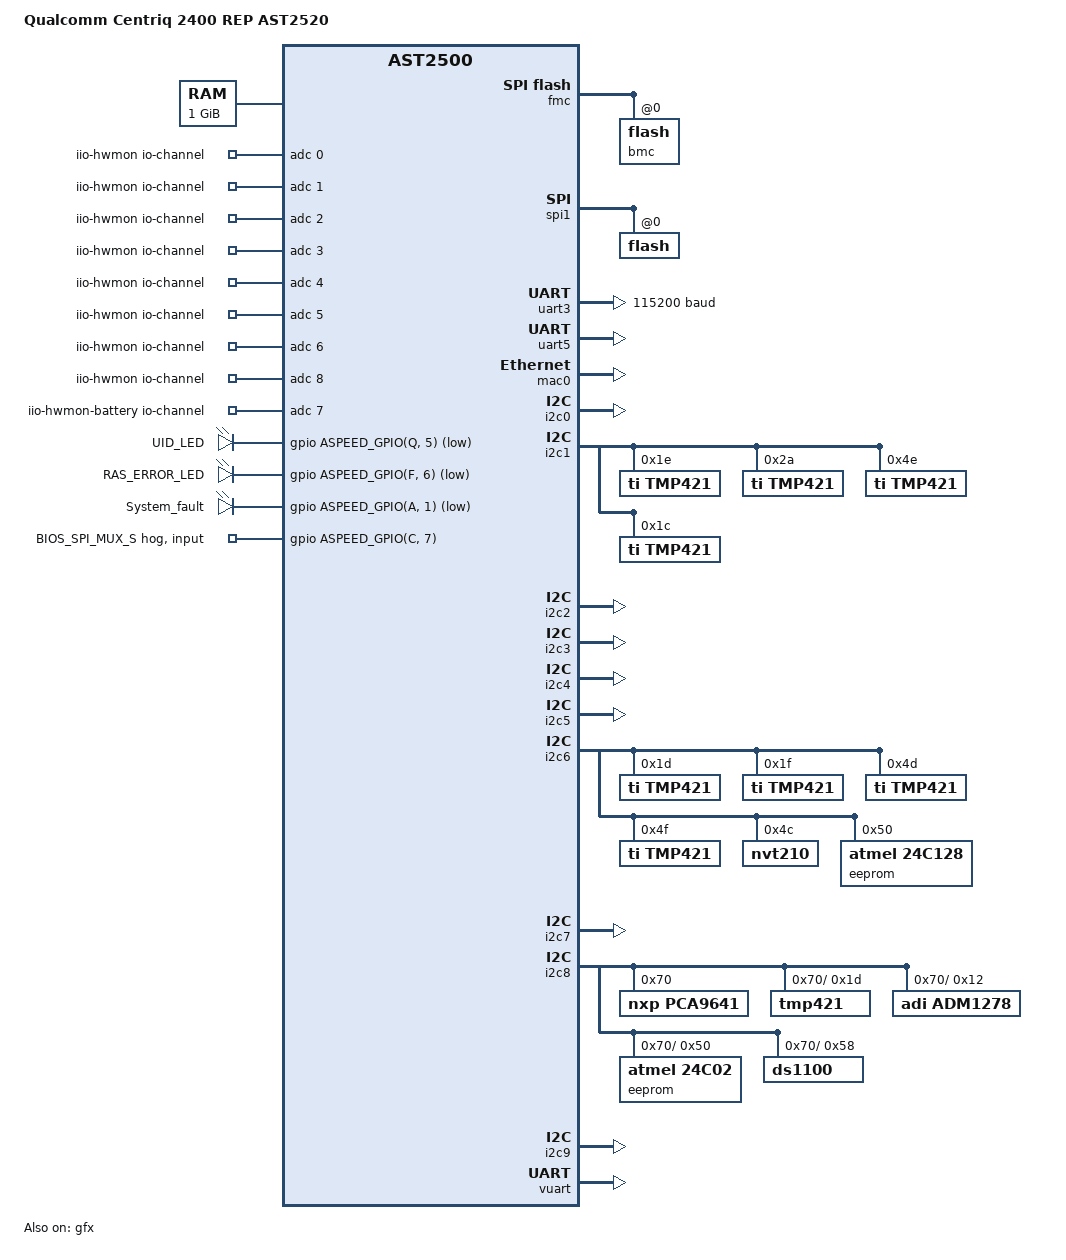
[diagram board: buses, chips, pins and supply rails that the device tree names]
// SPDX-License-Identifier: GPL-2.0+
/dts-v1/;

#include "aspeed-g5.dtsi"
#include <dt-bindings/gpio/aspeed-gpio.h>

/ {
	model = "Qualcomm Centriq 2400  REP AST2520";
	compatible = "qualcomm,centriq2400-rep-bmc", "aspeed,ast2500";

	chosen {
		stdout-path = &uart5;
		bootargs = "console=ttyS4,115200 earlyprintk";
	};

	memory {
		reg = <0x80000000 0x40000000>;
	};

	iio-hwmon {
		compatible = "iio-hwmon";
		io-channels = <&adc 0>, <&adc 1>, <&adc 2>, <&adc 3>,
                        <&adc 4>, <&adc 5>, <&adc 6>, <&adc 8>;
	};

	iio-hwmon-battery {
		compatible = "iio-hwmon";
		io-channels = <&adc 7>;
	};

	leds {
		compatible = "gpio-leds";

		uid_led {
			label = "UID_LED";
			gpios = <&gpio ASPEED_GPIO(Q, 5) GPIO_ACTIVE_LOW>;
		};

		ras_error_led {
			label = "RAS_ERROR_LED";
			gpios = <&gpio ASPEED_GPIO(F, 6) GPIO_ACTIVE_LOW>;
		};

		system_fault {
			label = "System_fault";
			gpios = <&gpio ASPEED_GPIO(A, 1) GPIO_ACTIVE_LOW>;
		};
	};
};

&fmc {
	status = "okay";
	flash@0 {
		status = "okay";
		m25p,fast-read;
		label = "bmc";
#include "openbmc-flash-layout.dtsi"
	};
};

&spi1 {
	status = "okay";
	pinctrl-names = "default";
	pinctrl-0 = <&pinctrl_spi1_default>;
	flash@0 {
		status = "okay";
	};
};

&spi2 {
	pinctrl-names = "default";
	pinctrl-0 = <&pinctrl_spi2ck_default
			&pinctrl_spi2miso_default
			&pinctrl_spi2mosi_default
			&pinctrl_spi2cs0_default>;
};

&uart3 {
	status = "okay";

	pinctrl-names = "default";
	pinctrl-0 = <&pinctrl_txd3_default &pinctrl_rxd3_default>;
	current-speed = <115200>;
};

&uart5 {
	status = "okay";
};

&mac0 {
	status = "okay";

	pinctrl-names = "default";
	pinctrl-0 = <&pinctrl_rgmii1_default &pinctrl_mdio1_default>;
};

&i2c0 {
	status = "okay";
};

&i2c1 {
	status = "okay";

	tmp421@1e {
		compatible = "ti,tmp421";
		reg = <0x1e>;
	};
	tmp421@2a {
		compatible = "ti,tmp421";
		reg = <0x2a>;
	};
	tmp421@4e {
		compatible = "ti,tmp421";
		reg = <0x4e>;
	};
	tmp421@1c {
		compatible = "ti,tmp421";
		reg = <0x1c>;
	};
};

&i2c2 {
	status = "okay";
};

&i2c3 {
	status = "okay";
};

&i2c4 {
	status = "okay";
};

&i2c5 {
	status = "okay";
};

&i2c6 {
	status = "okay";

	tmp421@1d {
		compatible = "ti,tmp421";
		reg = <0x1d>;
	};
	tmp421@1f {
		compatible = "ti,tmp421";
		reg = <0x1f>;
	};
	tmp421@4d {
		compatible = "ti,tmp421";
		reg = <0x4d>;
	};
	tmp421@4f {
		compatible = "ti,tmp421";
		reg = <0x4f>;
	};
	nvt210@4c {
		compatible = "nvt210";
		reg = <0x4c>;
	};
	eeprom@50 {
		compatible = "atmel,24c128";
		reg = <0x50>;
		pagesize = <128>;
	};
};

&i2c7 {
	status = "okay";
};

&i2c8 {
	status = "okay";

	pca9641@70 {
		compatible = "nxp,pca9641";
		reg = <0x70>;
		i2c-arb {
			#address-cells = <1>;
			#size-cells = <0>;
			tmp421@1d {
				compatible = "tmp421";
				reg = <0x1d>;
			};
			adm1278@12 {
				compatible = "adi,adm1278";
				reg = <0x12>;
				Rsense = <500>;
			};
			eeprom@50 {
				compatible = "atmel,24c02";
				reg = <0x50>;
			};
			ds1100@58 {
				compatible = "ds1100";
				reg = <0x58>;
			};
		};
	};
};

&i2c9 {
	status = "okay";
};

&vuart {
	status = "okay";
};

&gfx {
	status = "okay";
};

&pinctrl {
	aspeed,external-nodes = <&gfx &lhc>;
};

&gpio {
	pin_gpio_c7 {
		gpio-hog;
		gpios = <ASPEED_GPIO(C, 7) GPIO_ACTIVE_HIGH>;
		output;
		line-name = "BIOS_SPI_MUX_S";
	};
};
